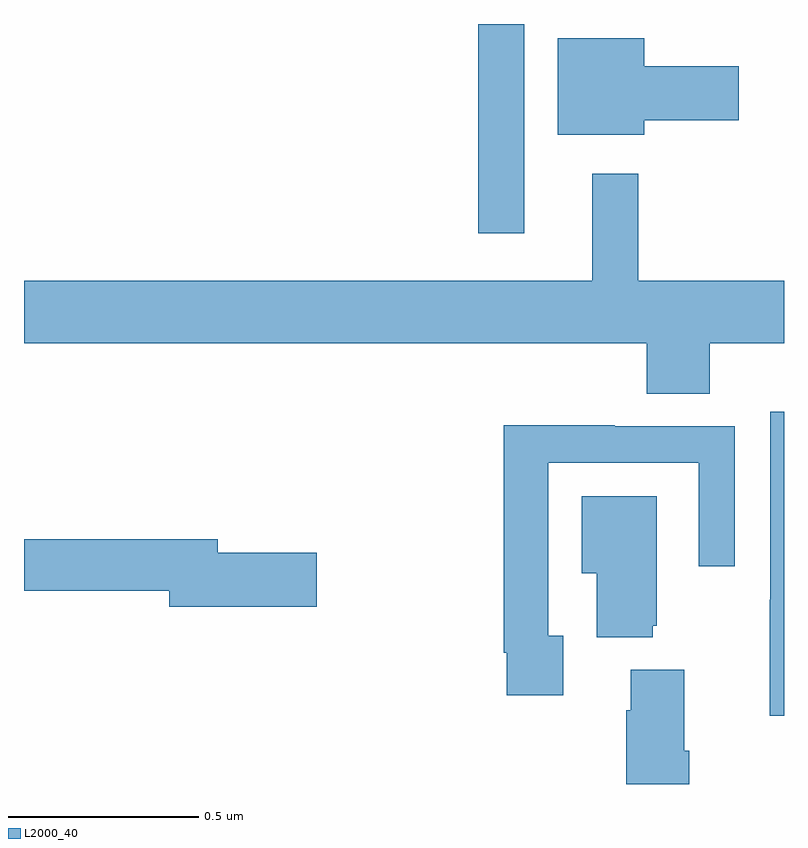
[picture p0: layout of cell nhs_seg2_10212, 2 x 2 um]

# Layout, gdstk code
import gdstk
lib = gdstk.Library(unit=1e-6, precision=1e-09)
def R(c, l, rs):  # rectangles x0, y0, x1, y1
    for r in rs: c.add(gdstk.rectangle(r[:2], r[2:], *l))
def P(c, l, *ps):  # polygons
    for p in ps: c.add(gdstk.Polygon(p, *l))
L2000_40 = (2000, 40)

nhs_seg2_10212 = lib.new_cell('nhs_seg2_10212')
R(nhs_seg2_10212, L2000_40, [(239.196,657.249,239.317,657.8)])
P(nhs_seg2_10212, L2000_40, [(239.632,657.547),(239.881,657.547),(239.881,657.689),(239.632,657.689),(239.632,657.763),(239.405,657.763),(239.405,657.509),(239.632,657.509)],
  [(239.804,656.96),(240,656.96),(240,657.124),(239.617,657.124),(239.617,657.406),(239.495,657.406),(239.495,657.124),(238,657.124),(238,656.96),(239.639,656.96),(239.639,656.827),(239.804,656.827)],
  [(240,656.779),(239.964,656.779),(239.964,656.285),(239.962,656.285),(239.962,655.979),(240,655.979)],
  [(239.419,656.19),(239.379,656.19),(239.379,656.646),(239.775,656.646),(239.775,656.373),(239.871,656.373),(239.871,656.742),(239.555,656.742),(239.555,656.744),(239.263,656.744),(239.263,656.146),(239.271,656.146),(239.271,656.034),(239.419,656.034)],
  [(239.654,656.217),(239.665,656.217),(239.665,656.557),(239.468,656.557),(239.468,656.354),(239.507,656.354),(239.507,656.186),(239.654,656.186)],
  [(238.771,656.408),(238.51,656.408),(238.51,656.444),(238,656.444),(238,656.308),(238.382,656.308),(238.382,656.266),(238.771,656.266)],
  [(239.75,655.888),(239.737,655.888),(239.737,656.101),(239.597,656.101),(239.597,655.994),(239.585,655.994),(239.585,655.8),(239.75,655.8)])

lib.write_gds('nhs_seg2_10212.gds')
